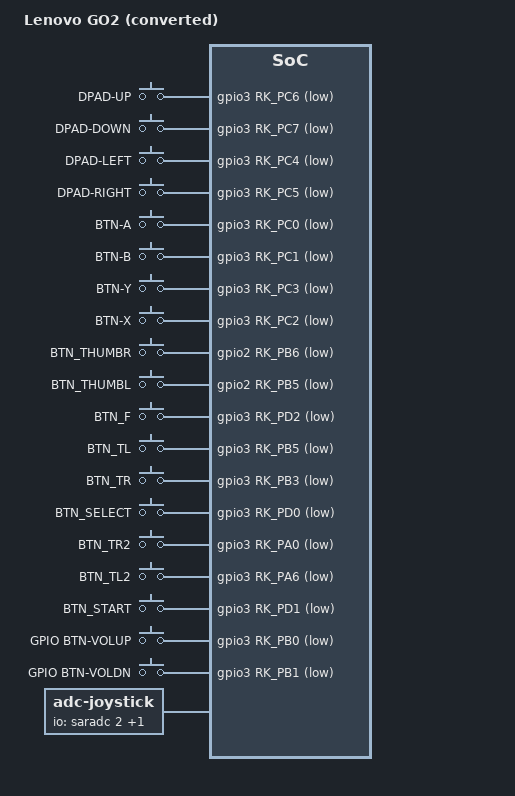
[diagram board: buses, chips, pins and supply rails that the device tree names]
// SPDX-License-Identifier: (GPL-2.0+ OR MIT)
/*
 * Lenovo GO2, converted from a vendor RK3326 device tree by
 * `lume dtb import` (boot-dtb-select D12). Do not edit: import again.
 * Source: arkos4clone/boot/dArkOS/consoles/go2/rk3326-go2-linux.dtb
 * SHA-256: 7a7ab638a575801120546e5053cc20e143fceac00252a17651853627f45fcc57
 * Note: power: OTG_SWITCH not declared by the source: no voltage set, left on
 * Note: speaker gain: source spk-volume 5 ignored, the native safe value is used
 */

#include "rk3326-r36s-v5.dts"

/ {
	model = "Lenovo GO2 (converted)";

	lume-select {
		lume,id = "arkos4clone-go2";
		lume,priority = <0>;
		/delete-property/ lume,default;
		/delete-property/ lume,panel-id;
	};

	/delete-node/ gpio-keys;
	/delete-node/ volume-keys;

	gpio-keys {
		compatible = "gpio-keys";
		pinctrl-names = "default";
		pinctrl-0 = <&btn_pins>;

		button-dpad-up {
			gpios = <&gpio3 RK_PC6 GPIO_ACTIVE_LOW>;
			label = "DPAD-UP";
			linux,code = <0x220>;
		};

		button-dpad-down {
			gpios = <&gpio3 RK_PC7 GPIO_ACTIVE_LOW>;
			label = "DPAD-DOWN";
			linux,code = <0x221>;
		};

		button-dpad-left {
			gpios = <&gpio3 RK_PC4 GPIO_ACTIVE_LOW>;
			label = "DPAD-LEFT";
			linux,code = <0x222>;
		};

		button-dpad-right {
			gpios = <&gpio3 RK_PC5 GPIO_ACTIVE_LOW>;
			label = "DPAD-RIGHT";
			linux,code = <0x223>;
		};

		button-btn-a {
			gpios = <&gpio3 RK_PC0 GPIO_ACTIVE_LOW>;
			label = "BTN-A";
			linux,code = <0x131>;
		};

		button-btn-b {
			gpios = <&gpio3 RK_PC1 GPIO_ACTIVE_LOW>;
			label = "BTN-B";
			linux,code = <0x130>;
		};

		button-btn-y {
			gpios = <&gpio3 RK_PC3 GPIO_ACTIVE_LOW>;
			label = "BTN-Y";
			linux,code = <0x134>;
		};

		button-btn-x {
			gpios = <&gpio3 RK_PC2 GPIO_ACTIVE_LOW>;
			label = "BTN-X";
			linux,code = <0x133>;
		};

		button-btn-thumbr {
			gpios = <&gpio2 RK_PB6 GPIO_ACTIVE_LOW>;
			label = "BTN_THUMBR";
			linux,code = <0x2c3>;
		};

		button-btn-thumbl {
			gpios = <&gpio2 RK_PB5 GPIO_ACTIVE_LOW>;
			label = "BTN_THUMBL";
			linux,code = <0x2c2>;
		};

		button-btn-f {
			gpios = <&gpio3 RK_PD2 GPIO_ACTIVE_LOW>;
			label = "BTN_F";
			linux,code = <0x2c4>;
		};

		button-btn-tl {
			gpios = <&gpio3 RK_PB5 GPIO_ACTIVE_LOW>;
			label = "BTN_TL";
			linux,code = <0x136>;
		};

		button-btn-tr {
			gpios = <&gpio3 RK_PB3 GPIO_ACTIVE_LOW>;
			label = "BTN_TR";
			linux,code = <0x137>;
		};

		button-btn-select {
			gpios = <&gpio3 RK_PD0 GPIO_ACTIVE_LOW>;
			label = "BTN_SELECT";
			linux,code = <0x2c0>;
		};

		button-btn-tr2 {
			gpios = <&gpio3 RK_PA0 GPIO_ACTIVE_LOW>;
			label = "BTN_TR2";
			linux,code = <0x139>;
		};

		button-btn-tl2 {
			gpios = <&gpio3 RK_PA6 GPIO_ACTIVE_LOW>;
			label = "BTN_TL2";
			linux,code = <0x138>;
		};

		button-btn-start {
			gpios = <&gpio3 RK_PD1 GPIO_ACTIVE_LOW>;
			label = "BTN_START";
			linux,code = <0x2c1>;
		};
	};

	volume-keys {
		compatible = "gpio-keys";
		pinctrl-names = "default";
		pinctrl-0 = <&vol_pins>;
		autorepeat;

		button-gpio-btn-volup {
			gpios = <&gpio3 RK_PB0 GPIO_ACTIVE_LOW>;
			label = "GPIO BTN-VOLUP";
			linux,code = <0x73>;
		};

		button-gpio-btn-voldn {
			gpios = <&gpio3 RK_PB1 GPIO_ACTIVE_LOW>;
			label = "GPIO BTN-VOLDN";
			linux,code = <0x72>;
		};
	};

	/delete-node/ adc-joystick;

	/delete-node/ adc-mux;
	/delete-node/ mux-controller;

	adc-joystick {
		compatible = "adc-joystick";
		io-channels = <&saradc 2>,
			      <&saradc 1>;
		poll-interval = <10>;
		#address-cells = <1>;
		#size-cells = <0>;

		axis@0 {
			reg = <0>;
			abs-flat = <32>;
			abs-fuzz = <32>;
			abs-range = <0 1023>;
			linux,code = <ABS_Y>;
		};

		axis@1 {
			reg = <1>;
			abs-flat = <32>;
			abs-fuzz = <32>;
			abs-range = <0 1023>;
			linux,code = <ABS_X>;
		};
	};

	/delete-node/ gpio-leds;

	rk817-sound {
		simple-audio-card,hp-det-gpios = <&gpio2 RK_PC6 GPIO_ACTIVE_LOW>;
	};
};

&internal_display {
	compatible = "rocknix,generic-dsi";
	/delete-property/ vcc-supply;
	vdd-supply = <&vcc_lcd>;
	reset-gpios = <&gpio3 RK_PD3 GPIO_ACTIVE_LOW>;
	enable-gpios = <&gpio0 RK_PB5 GPIO_ACTIVE_HIGH>;
	panel_description =
		"G size=153,85 delays=20,20,20,120,20 format=rgb888 lanes=4 flags=0xe03",
		"M clock=62000 horizontal=1024,90,80,80 vertical=768,16,8,8 default=1",
		"M clock=62000 horizontal=1024,90,80,80 vertical=768,16,8,19",
		"I seq=ee01",
		"I seq=ea07",
		"I seq=eb12",
		"I seq=0a5e",
		"I seq=1314",
		"I seq=1735",
		"I seq=1d33",
		"I seq=2101",
		"I seq=2828",
		"I seq=2918",
		"I seq=2a63",
		"I seq=2ff3",
		"I seq=ee02",
		"I seq=39a9",
		"I seq=0000",
		"I seq=010d",
		"I seq=0212",
		"I seq=0308",
		"I seq=040e",
		"I seq=0530",
		"I seq=060b",
		"I seq=070e",
		"I seq=080f",
		"I seq=090e",
		"I seq=0a11",
		"I seq=0b4e",
		"I seq=0c14",
		"I seq=0d1a",
		"I seq=0e2f",
		"I seq=0f36",
		"I seq=103f",
		"I seq=2000",
		"I seq=210d",
		"I seq=2212",
		"I seq=2308",
		"I seq=240e",
		"I seq=2530",
		"I seq=260b",
		"I seq=270e",
		"I seq=280f",
		"I seq=290e",
		"I seq=2a11",
		"I seq=2b4e",
		"I seq=2c14",
		"I seq=2d1a",
		"I seq=2e2f",
		"I seq=2f36",
		"I seq=303f",
		"I seq=ee04",
		"I seq=0005",
		"I seq=0101",
		"I seq=0280",
		"I seq=0304",
		"I seq=0400",
		"I seq=0606",
		"I seq=0705",
		"I seq=081a",
		"I seq=0920",
		"I seq=0a0e",
		"I seq=0b00",
		"I seq=2040",
		"I seq=2408",
		"I seq=ee05",
		"I seq=0001",
		"I seq=0109",
		"I seq=0205",
		"I seq=0305",
		"I seq=0705 # 2",
		"I seq=080d",
		"I seq=0900",
		"I seq=0a12",
		"I seq=0b14",
		"I seq=0c66",
		"I seq=1003",
		"I seq=1107",
		"I seq=1205",
		"I seq=1305",
		"I seq=1912",
		"I seq=1af6",
		"I seq=4055",
		"I seq=4100",
		"I seq=4303",
		"I seq=4401",
		"I seq=4581",
		"I seq=4606",
		"I seq=4700",
		"I seq=ee06",
		"I seq=0045",
		"I seq=0201",
		"I seq=0488",
		"I seq=06cd",
		"I seq=08ef",
		"I seq=09cd",
		"I seq=0aab",
		"I seq=0b89",
		"I seq=0c67",
		"I seq=0d45",
		"I seq=0e23",
		"I seq=0f01",
		"I seq=ee07",
		"I seq=003c",
		"I seq=013c",
		"I seq=023c",
		"I seq=033c",
		"I seq=040d",
		"I seq=053c",
		"I seq=063c",
		"I seq=073c",
		"I seq=0808",
		"I seq=0910",
		"I seq=0a12 # 2",
		"I seq=0b14 # 2",
		"I seq=0c16",
		"I seq=0d18",
		"I seq=0e1a",
		"I seq=0f1c",
		"I seq=101e",
		"I seq=1104",
		"I seq=1200",
		"I seq=133c",
		"I seq=140c",
		"I seq=153c",
		"I seq=203c",
		"I seq=213c",
		"I seq=223c",
		"I seq=233c",
		"I seq=240d",
		"I seq=253c",
		"I seq=263c",
		"I seq=273c",
		"I seq=2808",
		"I seq=2911",
		"I seq=2a13",
		"I seq=2b15",
		"I seq=2c17",
		"I seq=2d19",
		"I seq=2e1b",
		"I seq=2f1d",
		"I seq=301f",
		"I seq=3105",
		"I seq=3201",
		"I seq=333c",
		"I seq=340c",
		"I seq=353c",
		"I seq=ee08",
		"I seq=1000",
		"I seq=12dc",
		"I seq=131c",
		"I seq=1723",
		"I seq=1820",
		"I seq=2080",
		"I seq=ee0f",
		"I seq=0001 # 2",
		"I seq=0100",
		"I seq=ee00",
		"I seq=ea00",
		"I seq=eb00",
		"I seq=3600",
		"I seq=11 wait=c8",
		"I seq=29 wait=14";
};

&dsi {
	rockchip,lane-rate = <413>;
};

&backlight {
	pwms = <&pwm1 0 25000 0>;
	/delete-property/ num-interpolated-steps;
	brightness-levels = <0 1 2 3 4 5 6 7 8 9 10 11 12 13 14 15 16 17 18 19 20 21 22 23 24 25 26 27 28 29 30 31 32 33 34 35 36 37 38 39 40 41 42 43 44 45 46 47 48 49 50 51 52 53 54 55 56 57 58 59 60 61 62 63 64 65 66 67 68 69 70 71 72 73 74 75 76 77 78 79 80 81 82 83 84 85 86 87 88 89 90 91 92 93 94 95 96 97 98 99 100 101 102 103 104 105 106 107 108 109 110 111 112 113 114 115 116 117 118 119 120 121 122 123 124 125 126 127 128 129 130 131 132 133 134 135 136 137 138 139 140 141 142 143 144 145 146 147 148 149 150 151 152 153 154 155 156 157 158 159 160 161 162 163 164 165 166 167 168 169 170 171 172 173 174 175 176 177 178 179 180 181 182 183 184 185 186 187 188 189 190 191 192 193 194 195 196 197 198 199 200 201 202 203 204 205 206 207 208 209 210 211 212 213 214 215 216 217 218 219 220 221 222 223 224 225 226 227 228 229 230 231 232 233 234 235 236 237 238 239 240 241 242 243 244 245 246 247 248 249 250 251 252 253 254 255>;
	default-brightness-level = <200>;
};

&battery {
	charge-full-design-microamp-hours = <3587000>;
	voltage-max-design-microvolt = <4046000>;
	voltage-min-design-microvolt = <3300000>;
	ocv-capacity-table-0 = <4046000 100>,
				<4001000 95>,
				<3967000 90>,
				<3940000 85>,
				<3910000 80>,
				<3870000 75>,
				<3830000 70>,
				<3790000 65>,
				<3750000 60>,
				<3720000 55>,
				<3690000 50>,
				<3650000 45>,
				<3610000 40>,
				<3570000 35>,
				<3540000 30>,
				<3500000 25>,
				<3460000 20>,
				<3420000 15>,
				<3380000 10>,
				<3340000 5>,
				<3300000 0>;
};

&spk_amp {
	enable-gpios = <&gpio3 RK_PA7 GPIO_ACTIVE_HIGH>;
};

&rk817 {
	interrupt-parent = <&gpio0>;
	interrupts = <RK_PB2 IRQ_TYPE_LEVEL_LOW>;
};

&rk817 {
	regulators {
		DCDC_REG1 {
			regulator-always-on;
			regulator-boot-on;
			regulator-min-microvolt = <950000>;
			regulator-max-microvolt = <1350000>;
			regulator-name = "vdd_logic";

			regulator-state-mem {
				regulator-on-in-suspend;
				/delete-property/ regulator-off-in-suspend;
				regulator-suspend-microvolt = <950000>;
			};
		};
		DCDC_REG2 {
			regulator-always-on;
			regulator-boot-on;
			regulator-min-microvolt = <950000>;
			regulator-max-microvolt = <1350000>;
			regulator-name = "vdd_arm";

			regulator-state-mem {
				/delete-property/ regulator-on-in-suspend;
				regulator-off-in-suspend;
				regulator-suspend-microvolt = <950000>;
			};
		};
		DCDC_REG3 {
			regulator-always-on;
			regulator-boot-on;
			/delete-property/ regulator-min-microvolt;
			/delete-property/ regulator-max-microvolt;
			regulator-name = "vcc_ddr";

			regulator-state-mem {
				regulator-on-in-suspend;
				/delete-property/ regulator-off-in-suspend;
				/delete-property/ regulator-suspend-microvolt;
			};
		};
		DCDC_REG4 {
			regulator-always-on;
			regulator-boot-on;
			regulator-min-microvolt = <3000000>;
			regulator-max-microvolt = <3000000>;
			regulator-name = "vcc_3v0";

			regulator-state-mem {
				/delete-property/ regulator-on-in-suspend;
				regulator-off-in-suspend;
				regulator-suspend-microvolt = <3000000>;
			};
		};
		LDO_REG1 {
			regulator-always-on;
			regulator-boot-on;
			regulator-min-microvolt = <1000000>;
			regulator-max-microvolt = <1000000>;
			regulator-name = "vcc_1v0";

			regulator-state-mem {
				regulator-on-in-suspend;
				/delete-property/ regulator-off-in-suspend;
				regulator-suspend-microvolt = <1000000>;
			};
		};
		LDO_REG2 {
			regulator-always-on;
			regulator-boot-on;
			regulator-min-microvolt = <1800000>;
			regulator-max-microvolt = <1800000>;
			regulator-name = "vcc1v8_soc";

			regulator-state-mem {
				regulator-on-in-suspend;
				/delete-property/ regulator-off-in-suspend;
				regulator-suspend-microvolt = <1800000>;
			};
		};
		LDO_REG3 {
			regulator-always-on;
			regulator-boot-on;
			regulator-min-microvolt = <1000000>;
			regulator-max-microvolt = <1000000>;
			regulator-name = "vcc1v0_soc";

			regulator-state-mem {
				regulator-on-in-suspend;
				/delete-property/ regulator-off-in-suspend;
				regulator-suspend-microvolt = <1000000>;
			};
		};
		LDO_REG4 {
			regulator-always-on;
			regulator-boot-on;
			regulator-min-microvolt = <3000000>;
			regulator-max-microvolt = <3000000>;
			regulator-name = "vcc3v0_pmu";

			regulator-state-mem {
				regulator-on-in-suspend;
				/delete-property/ regulator-off-in-suspend;
				regulator-suspend-microvolt = <3000000>;
			};
		};
		LDO_REG5 {
			regulator-always-on;
			regulator-boot-on;
			regulator-min-microvolt = <1800000>;
			regulator-max-microvolt = <3300000>;
			regulator-name = "vccio_sd";

			regulator-state-mem {
				regulator-on-in-suspend;
				/delete-property/ regulator-off-in-suspend;
				regulator-suspend-microvolt = <3300000>;
			};
		};
		LDO_REG6 {
			regulator-min-microvolt = <3300000>;
			regulator-max-microvolt = <3300000>;
			regulator-name = "vcc_sd";

			regulator-state-mem {
				regulator-on-in-suspend;
				/delete-property/ regulator-off-in-suspend;
				regulator-suspend-microvolt = <3300000>;
			};
		};
		LDO_REG7 {
			regulator-always-on;
			regulator-boot-on;
			regulator-min-microvolt = <1800000>;
			regulator-max-microvolt = <3300000>;
			regulator-name = "vcc2v8_dvp";

			regulator-state-mem {
				regulator-on-in-suspend;
				/delete-property/ regulator-off-in-suspend;
				regulator-suspend-microvolt = <3300000>;
			};
		};
		LDO_REG8 {
			regulator-always-on;
			regulator-boot-on;
			regulator-min-microvolt = <3300000>;
			regulator-max-microvolt = <3300000>;
			regulator-name = "vcc_lcd";

			regulator-state-mem {
				regulator-on-in-suspend;
				/delete-property/ regulator-off-in-suspend;
				regulator-suspend-microvolt = <3300000>;
			};
		};
		LDO_REG9 {
			regulator-always-on;
			regulator-boot-on;
			regulator-min-microvolt = <1500000>;
			regulator-max-microvolt = <1500000>;
			regulator-name = "vdd1v5_dvp";

			regulator-state-mem {
				/delete-property/ regulator-on-in-suspend;
				regulator-off-in-suspend;
				regulator-suspend-microvolt = <1500000>;
			};
		};
		BOOST {
			regulator-always-on;
			regulator-boot-on;
			regulator-min-microvolt = <5000000>;
			regulator-max-microvolt = <5400000>;
			regulator-name = "boost";
			/delete-node/ regulator-state-mem;
		};
		OTG_SWITCH {
			/delete-property/ regulator-min-microvolt;
			/delete-property/ regulator-max-microvolt;
			/delete-node/ regulator-state-mem;
		};
	};
};

&io_domains {
	vccio1-supply = <&{/i2c@ff180000/pmic@20/regulators/LDO_REG7}>;
	vccio2-supply = <&{/i2c@ff180000/pmic@20/regulators/LDO_REG5}>;
	vccio3-supply = <&{/i2c@ff180000/pmic@20/regulators/LDO_REG2}>;
	vccio4-supply = <&{/i2c@ff180000/pmic@20/regulators/DCDC_REG4}>;
	vccio5-supply = <&{/i2c@ff180000/pmic@20/regulators/DCDC_REG4}>;
	/delete-property/ vccio6-supply;
	/delete-property/ vccio-oscgpi-supply;
};

&pmu_io_domains {
	pmuio1-supply = <&{/i2c@ff180000/pmic@20/regulators/LDO_REG4}>;
	pmuio2-supply = <&{/i2c@ff180000/pmic@20/regulators/LDO_REG4}>;
};

&gpio0 {
	/delete-node/ joystick-mux-en-hog;
};

&gpio1 {
	/delete-node/ lcd-enable-hog;
};

&gpio3 {
	/delete-node/ lcd-stbyb-hog;
};

&btn_pins {
	rockchip,pins =
		<3 RK_PC6 RK_FUNC_GPIO &pcfg_pull_up>,
		<3 RK_PC7 RK_FUNC_GPIO &pcfg_pull_up>,
		<3 RK_PC4 RK_FUNC_GPIO &pcfg_pull_up>,
		<3 RK_PC5 RK_FUNC_GPIO &pcfg_pull_up>,
		<3 RK_PC0 RK_FUNC_GPIO &pcfg_pull_up>,
		<3 RK_PC1 RK_FUNC_GPIO &pcfg_pull_up>,
		<3 RK_PC3 RK_FUNC_GPIO &pcfg_pull_up>,
		<3 RK_PC2 RK_FUNC_GPIO &pcfg_pull_up>,
		<2 RK_PB6 RK_FUNC_GPIO &pcfg_pull_up>,
		<2 RK_PB5 RK_FUNC_GPIO &pcfg_pull_up>,
		<3 RK_PD2 RK_FUNC_GPIO &pcfg_pull_up>,
		<3 RK_PB5 RK_FUNC_GPIO &pcfg_pull_up>,
		<3 RK_PB3 RK_FUNC_GPIO &pcfg_pull_up>,
		<3 RK_PD0 RK_FUNC_GPIO &pcfg_pull_up>,
		<3 RK_PA0 RK_FUNC_GPIO &pcfg_pull_up>,
		<3 RK_PA6 RK_FUNC_GPIO &pcfg_pull_up>,
		<3 RK_PD1 RK_FUNC_GPIO &pcfg_pull_up>;
};

&vol_pins {
	rockchip,pins =
		<3 RK_PB0 RK_FUNC_GPIO &pcfg_pull_up>,
		<3 RK_PB1 RK_FUNC_GPIO &pcfg_pull_up>;
};

&hp_det {
	rockchip,pins = <2 RK_PC6 RK_FUNC_GPIO &pcfg_pull_none>;
};

&spk_amp_enable_h {
	rockchip,pins = <3 RK_PA7 RK_FUNC_GPIO &pcfg_pull_none>;
};

&pmic_int {
	rockchip,pins = <0 RK_PB2 RK_FUNC_GPIO &pcfg_pull_up>;
};
